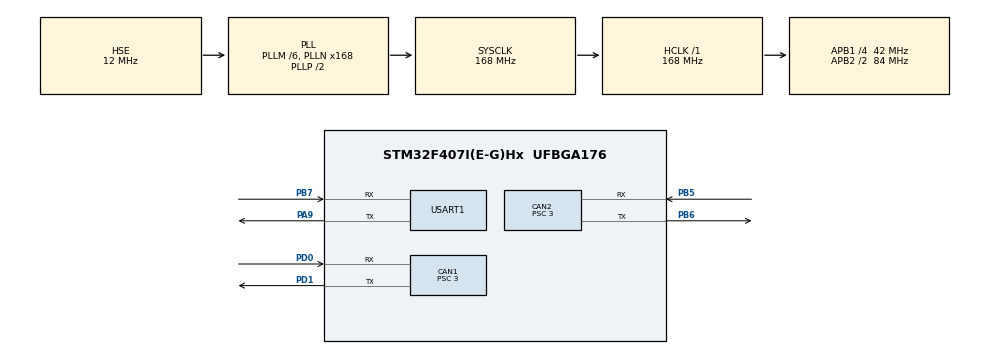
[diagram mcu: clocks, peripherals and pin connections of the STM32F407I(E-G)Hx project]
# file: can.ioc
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CAN1.BS1=CAN_BS1_10TQ
CAN1.BS2=CAN_BS2_3TQ
CAN1.CalculateBaudRate=1000000
CAN1.CalculateTimeQuantum=71.42857142857143
CAN1.Prescaler=3
CAN2.BS1=CAN_BS1_10TQ
CAN2.BS2=CAN_BS2_3TQ
CAN2.CalculateBaudRate=1000000
CAN2.CalculateTimeQuantum=71.42857142857143
CAN2.Prescaler=3
FREERTOS.Tasks01=defaultTask,0,128,StartDefaultTask,Default,NULL,Dynamic,NULL,NULL
FREERTOS.configUSE_NEWLIB_REENTRANT=1
Mcu.Family=STM32F4
Mcu.Name=STM32F407I(E-G)Hx
Mcu.Package=UFBGA176
NVIC.CAN1_RX0_IRQn=true\:5\:0\:false\:false\:true\:true\:true\:true\:true
NVIC.CAN2_RX0_IRQn=true\:5\:0\:false\:false\:true\:true\:true\:true\:true
NVIC.PriorityGroup=NVIC_PRIORITYGROUP_4
NVIC.TIM7_IRQn=true\:15\:0\:false\:false\:true\:false\:false\:true\:true
NVIC.TimeBase=TIM7_IRQn
NVIC.TimeBaseIP=TIM7
PA13.Mode=Serial_Wire
PA13.Signal=SYS_JTMS-SWDIO
PA14.Mode=Serial_Wire
PA14.Signal=SYS_JTCK-SWCLK
PA9.Mode=Asynchronous
PA9.Signal=USART1_TX
PB5.Mode=CAN_Activate
PB5.Signal=CAN2_RX
PB6.Mode=CAN_Activate
PB6.Signal=CAN2_TX
PB7.Mode=Asynchronous
PB7.Signal=USART1_RX
PD0.Mode=CAN_Activate
PD0.Signal=CAN1_RX
PD1.Mode=CAN_Activate
PD1.Signal=CAN1_TX
PH0-OSC_IN.Mode=HSE-External-Oscillator
PH0-OSC_IN.Signal=RCC_OSC_IN
PH1-OSC_OUT.Mode=HSE-External-Oscillator
PH1-OSC_OUT.Signal=RCC_OSC_OUT
ProjectManager.HeapSize=0x200
ProjectManager.StackSize=0x400
ProjectManager.TargetToolchain=CMake
RCC.48MHZClocksFreq_Value=84000000
RCC.AHBFreq_Value=168000000
RCC.APB1CLKDivider=RCC_HCLK_DIV4
RCC.APB1Freq_Value=42000000
RCC.APB1TimFreq_Value=84000000
RCC.APB2CLKDivider=RCC_HCLK_DIV2
RCC.APB2Freq_Value=84000000
RCC.APB2TimFreq_Value=168000000
RCC.CortexFreq_Value=168000000
RCC.HCLKFreq_Value=168000000
RCC.HSE_VALUE=12000000
RCC.HSI_VALUE=16000000
RCC.LSE_VALUE=32768
RCC.PLLM=6
RCC.PLLN=168
RCC.PLLSourceVirtual=RCC_PLLSOURCE_HSE
RCC.SYSCLKFreq_VALUE=168000000
RCC.SYSCLKSource=RCC_SYSCLKSOURCE_PLLCLK
RCC.VCOOutputFreq_Value=336000000
USART1.VirtualMode=VM_ASYNC
VP_FREERTOS_VS_CMSIS_V1.Mode=CMSIS_V1
VP_SYS_VS_tim7.Mode=TIM7
board=custom

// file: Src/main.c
/* USER CODE BEGIN Header */
/**
  ******************************************************************************
  * @file           : main.c
  * @brief          : Main program body
  ******************************************************************************
  * @attention
  *
  * Copyright (c) 2026 STMicroelectronics.
  * All rights reserved.
  *
  * This software is licensed under terms that can be found in the LICENSE file
  * in the root directory of this software component.
  * If no LICENSE file comes with this software, it is provided AS-IS.
  *
  ******************************************************************************
  */
/* USER CODE END Header */
#include "main.h"
#include "cmsis_os.h"
#include "can.h"
#include "usart.h"
#include "gpio.h"

/* USER CODE BEGIN Includes */
#include "string.h"
#include "bsp_can.h"
#include "CAN_receive.h"
#include "bsp_can.h"

/* USER CODE END Includes */

/* USER CODE BEGIN PTD */
#include "PID.h"
#include "Vofa_pid.h"
/* USER CODE END PTD */

void SystemClock_Config(void);
void MX_FREERTOS_Init(void);

int main(void)
{

  /* MCU Configuration--------------------------------------------------------*/

  /* Reset of all peripherals, Initializes the Flash interface and the Systick. */
  HAL_Init();

  /* Configure the system clock */
  SystemClock_Config();

  /* Initialize all configured peripherals */
  MX_GPIO_Init();
  MX_CAN1_Init();
  MX_CAN2_Init();
  can_filter_init();
  MX_USART1_UART_Init();
  /* USER CODE BEGIN 2 */
  MX_USART1_UART_Init();
  Vofa_Init();
  PID_Init();
  PID_Speed_Init();
  /* USER CODE END 2 */

  /* Call init function for freertos objects (in cmsis_os2.c) */
  MX_FREERTOS_Init();

  /* Start scheduler */
  osKernelStart();

  /* We should never get here as control is now taken by the scheduler */

  /* Infinite loop */
  while (1)
  {

  }
}

void SystemClock_Config(void)
{
  RCC_OscInitTypeDef RCC_OscInitStruct = {0};
  RCC_ClkInitTypeDef RCC_ClkInitStruct = {0};

  /** Configure the main internal regulator output voltage
  */
  __HAL_RCC_PWR_CLK_ENABLE();
  __HAL_PWR_VOLTAGESCALING_CONFIG(PWR_REGULATOR_VOLTAGE_SCALE1);

  /** Initializes the RCC Oscillators according to the specified parameters
  * in the RCC_OscInitTypeDef structure.
  */
  RCC_OscInitStruct.OscillatorType = RCC_OSCILLATORTYPE_HSE;
  RCC_OscInitStruct.HSEState = RCC_HSE_ON;
  RCC_OscInitStruct.PLL.PLLState = RCC_PLL_ON;
  RCC_OscInitStruct.PLL.PLLSource = RCC_PLLSOURCE_HSE;
  RCC_OscInitStruct.PLL.PLLM = 6;
  RCC_OscInitStruct.PLL.PLLN = 168;
  RCC_OscInitStruct.PLL.PLLP = RCC_PLLP_DIV2;
  RCC_OscInitStruct.PLL.PLLQ = 4;
  if (HAL_RCC_OscConfig(&RCC_OscInitStruct) != HAL_OK)
  {
    Error_Handler();
  }

  /** Initializes the CPU, AHB and APB buses clocks
  */
  RCC_ClkInitStruct.ClockType = RCC_CLOCKTYPE_HCLK|RCC_CLOCKTYPE_SYSCLK
                              |RCC_CLOCKTYPE_PCLK1|RCC_CLOCKTYPE_PCLK2;
  RCC_ClkInitStruct.SYSCLKSource = RCC_SYSCLKSOURCE_PLLCLK;
  RCC_ClkInitStruct.AHBCLKDivider = RCC_SYSCLK_DIV1;
  RCC_ClkInitStruct.APB1CLKDivider = RCC_HCLK_DIV4;
  RCC_ClkInitStruct.APB2CLKDivider = RCC_HCLK_DIV2;

  if (HAL_RCC_ClockConfig(&RCC_ClkInitStruct, FLASH_LATENCY_5) != HAL_OK)
  {
    Error_Handler();
  }
}

void HAL_TIM_PeriodElapsedCallback(TIM_HandleTypeDef *htim)
{
  if (htim->Instance == TIM7) {
    HAL_IncTick();
  }
}

void Error_Handler(void)
{
  __disable_irq();
  while (1)
  {
  }
}

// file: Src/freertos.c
/* USER CODE BEGIN Header */
/**
  ******************************************************************************
  * File Name          : freertos.c
  * Description        : Code for freertos applications
  ******************************************************************************
  * @attention
  *
  * Copyright (c) 2026 STMicroelectronics.
  * All rights reserved.
  *
  * This software is licensed under terms that can be found in the LICENSE file
  * in the root directory of this software component.
  * If no LICENSE file comes with this software, it is provided AS-IS.
  *
  ******************************************************************************
  */
/* USER CODE END Header */

#include "FreeRTOS.h"
#include "task.h"
#include "main.h"
#include "cmsis_os.h"

/* USER CODE BEGIN Includes */
#include "PID.h"
#include "fuzzy_PID.h"
#include "Vofa_pid.h"
/* USER CODE END Includes */

osThreadId defaultTaskHandle;

/* USER CODE BEGIN FunctionPrototypes */
void PID_Task(void const * argument);
void Vofa_PID_Task(void const * argument);
/* USER CODE END FunctionPrototypes */

//void StartDefaultTask(void const * argument);

void MX_FREERTOS_Init(void); /* (MISRA C 2004 rule 8.1) */

/* GetIdleTaskMemory prototype (linked to static allocation support) */
void vApplicationGetIdleTaskMemory( StaticTask_t **ppxIdleTaskTCBBuffer, StackType_t **ppxIdleTaskStackBuffer, uint32_t *pulIdleTaskStackSize );

/* USER CODE BEGIN GET_IDLE_TASK_MEMORY */
static StaticTask_t xIdleTaskTCBBuffer;
static StackType_t xIdleStack[configMINIMAL_STACK_SIZE];

void vApplicationGetIdleTaskMemory( StaticTask_t **ppxIdleTaskTCBBuffer, StackType_t **ppxIdleTaskStackBuffer, uint32_t *pulIdleTaskStackSize )
{
  *ppxIdleTaskTCBBuffer = &xIdleTaskTCBBuffer;
  *ppxIdleTaskStackBuffer = &xIdleStack[0];
  *pulIdleTaskStackSize = configMINIMAL_STACK_SIZE;
  /* place for user code */
}
/* USER CODE END GET_IDLE_TASK_MEMORY */

void MX_FREERTOS_Init(void) {

  /* Create the thread(s) */
  /* definition and creation of defaultTask */
  //osThreadDef(defaultTask, StartDefaultTask, osPriorityNormal, 0, 128);
  //defaultTaskHandle = osThreadCreate(osThread(defaultTask), NULL);

  /* USER CODE BEGIN RTOS_THREADS */
  /* add threads, ... */
  osThreadDef(PIDTask, PID_Task, osPriorityHigh, 0, 256);
  osThreadCreate(osThread(PIDTask), NULL);

  osThreadDef(VofaPIDTask, Vofa_PID_Task, osPriorityLow, 0, 256);
  osThreadCreate(osThread(VofaPIDTask), NULL);

  /* USER CODE END RTOS_THREADS */

}

/* USER CODE BEGIN Application */

void PID_Task(void const * argument)
{
  //PID控制代码
    /* USER CODE BEGIN PID_Task */

    /* Infinite loop */
    for(;;)
    {
      //PID_Speed_send(&Speed);
      //CAN_cmd_gimbal(5000, 0, 0, 0);
      PID_GetCurrent(&ECD);
      PID_Calculate_send(&ECD);
      osDelay(1);
    }
    /* USER CODE END PID_Task */
}

void Vofa_PID_Task(void const * argument)
{
  //vofa上位机读取数据
    /* USER CODE BEGIN Vofa_PID_Task */

    /* Infinite loop */
    for(;;)
    {
      Vofa_Output();
      osDelay(1);
    }
    /* USER CODE END Vofa_PID_Task */
}
/* USER CODE END Application */
